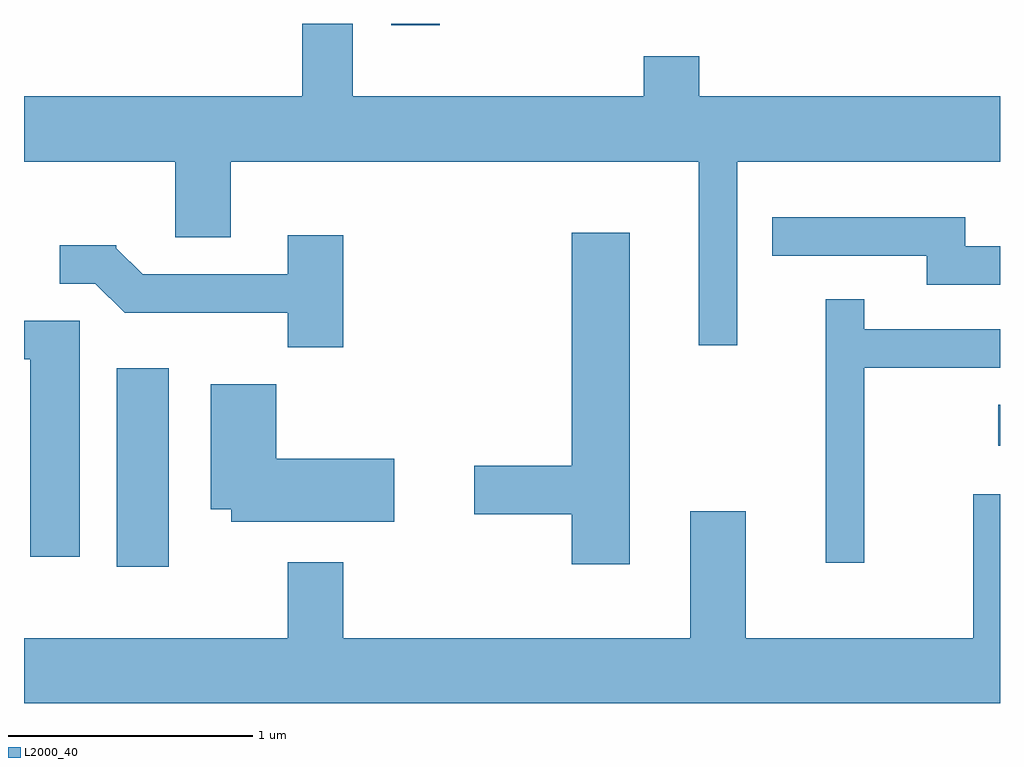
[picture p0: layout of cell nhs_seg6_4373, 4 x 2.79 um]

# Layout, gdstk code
import gdstk
lib = gdstk.Library(unit=1e-6, precision=1e-09)
def R(c, l, rs):  # rectangles x0, y0, x1, y1
    for r in rs: c.add(gdstk.rectangle(r[:2], r[2:], *l))
def P(c, l, *ps):  # polygons
    for p in ps: c.add(gdstk.Polygon(p, *l))
L2000_40 = (2000, 40)

nhs_seg6_4373 = lib.new_cell('nhs_seg6_4373')
R(nhs_seg6_4373, L2000_40, [(319.991,1543.936,320.204,1544.749), (323.603,1544.431,323.611,1544.599), (321.116,1546.156,321.314,1546.162)])
P(nhs_seg6_4373, L2000_40, [(322.534,1545.596),(323.611,1545.596),(323.611,1545.864),(322.379,1545.864),(322.379,1546.029),(322.151,1546.029),(322.151,1545.864),(320.959,1545.864),(320.959,1546.162),(320.751,1546.162),(320.751,1545.864),(319.611,1545.864),(319.611,1545.596),(320.231,1545.596),(320.231,1545.286),(320.459,1545.286),(320.459,1545.596),(322.376,1545.596),(322.376,1544.843),(322.534,1544.843)],
  [(323.611,1545.249),(323.469,1545.249),(323.469,1545.369),(322.678,1545.369),(322.678,1545.211),(323.311,1545.211),(323.311,1545.091),(323.611,1545.091)],
  [(322.094,1545.304),(321.856,1545.304),(321.856,1544.349),(321.456,1544.349),(321.456,1544.151),(321.856,1544.151),(321.856,1543.946),(322.094,1543.946)],
  [(320.919,1545.294),(320.691,1545.294),(320.691,1545.134),(320.097,1545.134),(319.99,1545.241),(319.99,1545.254),(319.758,1545.254),(319.758,1545.096),(319.904,1545.096),(320.024,1544.976),(320.691,1544.976),(320.691,1544.836),(320.919,1544.836)],
  [(323.054,1544.751),(323.611,1544.751),(323.611,1544.909),(323.054,1544.909),(323.054,1545.033),(322.896,1545.033),(322.896,1543.953),(323.054,1543.953)],
  [(319.839,1544.944),(319.611,1544.944),(319.611,1544.786),(319.636,1544.786),(319.636,1543.976),(319.839,1543.976)],
  [(321.129,1544.379),(320.644,1544.379),(320.644,1544.684),(320.376,1544.684),(320.376,1544.171),(320.461,1544.171),(320.461,1544.121),(321.129,1544.121)],
  [(323.611,1544.234),(323.501,1544.234),(323.501,1543.644),(322.569,1543.644),(322.569,1544.164),(322.341,1544.164),(322.341,1543.644),(320.919,1543.644),(320.919,1543.954),(320.691,1543.954),(320.691,1543.644),(319.611,1543.644),(319.611,1543.376),(323.611,1543.376)])

lib.write_gds('nhs_seg6_4373.gds')
